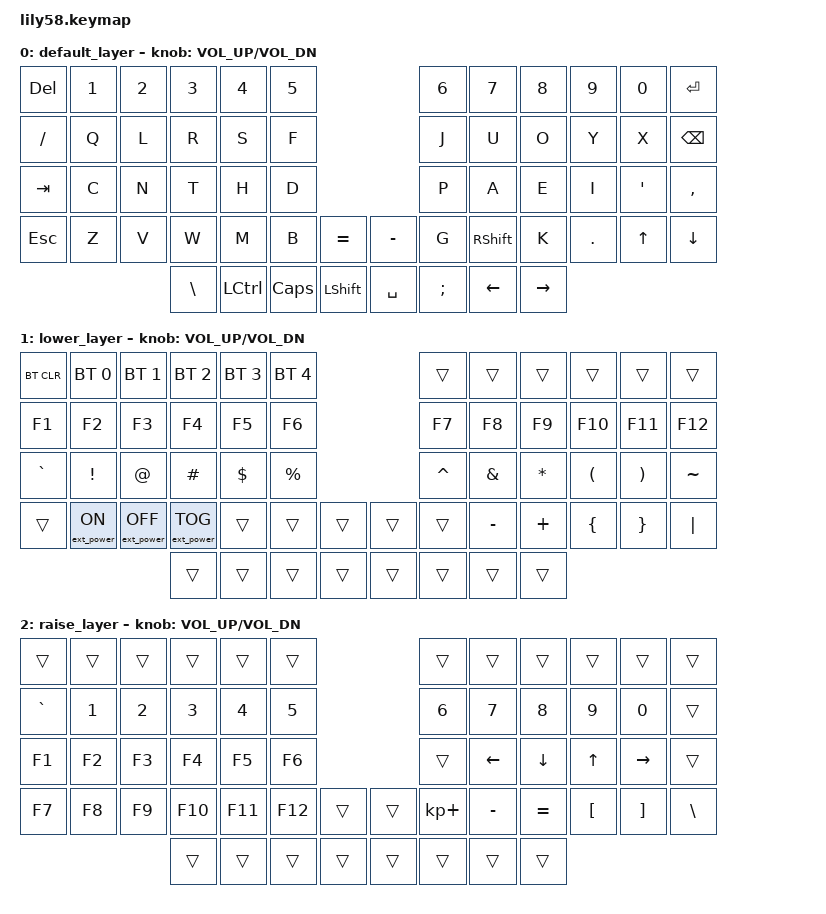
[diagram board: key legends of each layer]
/*
 * Copyright (c) 2020 The ZMK Contributors
 *
 * SPDX-License-Identifier: MIT
 */

#include <behaviors.dtsi>
#include <dt-bindings/zmk/keys.h>
#include <dt-bindings/zmk/bt.h>
#include <dt-bindings/zmk/ext_power.h>

/ {
    keymap {
        compatible = "zmk,keymap";

        default_layer {
// ------------------------------------------------------------------------------------------------------------
// |  ESC  |  1  |  2  |  3   |  4   |  5   |                   |  6   |  7    |  8    |  9   |   0   |   `   |
// |  FSLH  |  Q  |  W  |  E   |  R   |  T   |                   |  Y   |  U    |  I    |  O   |   P   |   -   |
// |  CTRL |  A  |  S  |  D   |  F   |  G   |                   |  H   |  J    |  K    |  L   |   ;   |   '   |
// | SHIFT |  Z  |  X  |  C   |  V   |  B   |   "["  |  |  "]"  |  N   |  M    |  ,    |  .   |   /   | SHIFT |
//                     | ALT  | GUI  | LOWER|  SPACE |  | ENTER | RAISE| BSPC  | GUI   |
            bindings = <
&kp DEL   &kp N1 &kp N2 &kp N3   &kp N4   &kp N5                     &kp N6 &kp N7   &kp N8    &kp N9  &kp N0   &kp RET
&kp FSLH   &kp Q  &kp L  &kp R    &kp S    &kp F                      &kp J  &kp U    &kp O     &kp Y   &kp X    &kp BSPC
&kp TAB &kp C  &kp N  &kp T    &kp H    &kp D                      &kp P  &kp A    &kp E     &kp I   &kp SQT &kp COMMA
&kp ESC &kp Z  &kp V  &kp W    &kp M    &kp B  &kp EQUAL   &kp MINUS &kp G  &kp RSHFT    &kp K &kp DOT &kp UP &kp DOWN
                 &kp BSLH &kp LCTRL &kp CAPS  &kp LSHFT  &kp SPACE  &kp SEMI  &kp LEFT &kp RIGHT
            >;

            sensor-bindings = <&inc_dec_kp C_VOL_UP C_VOL_DN>;
        };

        lower_layer {
// ------------------------------------------------------------------------------------------------------------
// | BTCLR | BT1 | BT2 |  BT3 |  BT4 |  BT5 |                   |      |       |       |      |       |       |
// |  F1   |  F2 |  F3 |  F4  |  F5  |  F6  |                   |  F7  |  F8   |  F9   |  F10 |  F11  |  F12  |
// |   `   |  !  |  @  |  #   |  $   |  %   |                   |  ^   |  &    |  *    |  (   |   )   |   ~   |
// |       |     |     |      |      |      |        |  |       |      |  _    |  +    |  {   |   }   |  "|"  |
//                     |      |      |      |        |  |       |      |       |       |
            bindings = <
&bt BT_CLR &bt BT_SEL 0     &bt BT_SEL 1      &bt BT_SEL 2      &bt BT_SEL 3 &bt BT_SEL 4                 &trans    &trans    &trans    &trans    &trans    &trans
&kp F1     &kp F2           &kp F3            &kp F4            &kp F5       &kp F6                       &kp F7    &kp F8    &kp F9    &kp F10   &kp F11   &kp F12
&kp GRAVE  &kp EXCL         &kp AT            &kp HASH          &kp DOLLAR   &kp PRCNT                    &kp CARET &kp AMPS  &kp ASTRK &kp LPAR  &kp RPAR  &kp TILDE
&trans     &ext_power EP_ON &ext_power EP_OFF &ext_power EP_TOG &trans       &trans    &trans   &trans    &trans    &kp MINUS &kp PLUS  &kp LBRC  &kp RBRC  &kp PIPE
                                              &trans            &trans       &trans    &trans   &trans    &trans    &trans    &trans
            >;

            sensor-bindings = <&inc_dec_kp C_VOL_UP C_VOL_DN>;
        };

        raise_layer {
// ------------------------------------------------------------------------------------------------------------
// |       |     |     |      |      |      |                   |      |       |       |      |       |       |
// |   `   |  1  |  2  |  3   |  4   |  5   |                   |  6   |   7   |   8   |  9   |   0   |       |
// |   F1  |  F2 |  F3 |  F4  |  F5  |  F6  |                   |      |   <-  |   v   |  ^   |  ->   |       |
// |   F7  |  F8 |  F9 |  F10 |  F11 |  F12 |        |  |       |  +   |   -   |   =   |  [   |   ]   |   \   |
//                     |      |      |      |        |  |       |      |       |       |
            bindings = <
&trans    &trans &trans &trans  &trans  &trans                       &trans      &trans    &trans    &trans   &trans    &trans
&kp GRAVE &kp N1 &kp N2 &kp N3  &kp N4  &kp N5                       &kp N6      &kp N7    &kp N8    &kp N9   &kp N0    &trans
&kp F1    &kp F2 &kp F3 &kp F4  &kp F5  &kp F6                       &trans      &kp LEFT  &kp DOWN  &kp UP   &kp RIGHT &trans
&kp F7    &kp F8 &kp F9 &kp F10 &kp F11 &kp F12   &trans   &trans    &kp KP_PLUS &kp MINUS &kp EQUAL &kp LBKT &kp RBKT  &kp BSLH
                        &trans  &trans  &trans    &trans   &trans    &trans      &trans    &trans
            >;

            sensor-bindings = <&inc_dec_kp C_VOL_UP C_VOL_DN>;
        };
    };
};
